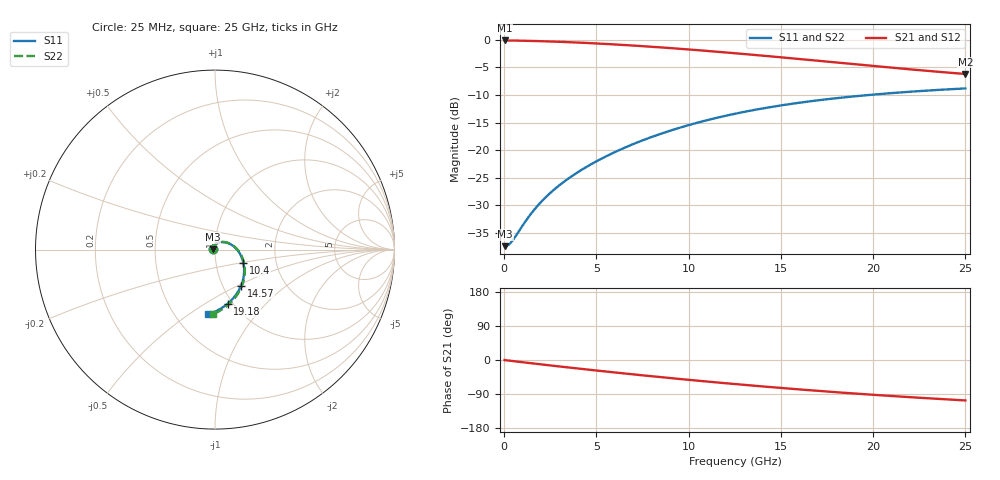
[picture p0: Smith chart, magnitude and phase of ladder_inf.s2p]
! R_s4_rect_n1: kisi's ladder, infinite plates (Finite board 24 × 16 mm, via L1 → L4 through the L2/L3 cavity, one GND via 2 mm away)
# Hz S RI R 50
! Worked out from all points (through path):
!   1000 points, 25 MHz to 25 GHz, reference 50 ohm
!   highest |S21| = -0.12 dB at 25 MHz (marker M1); lowest = -6.2 dB at 25 GHz (marker M2)
!   group delay of S21, straight-line fit = 11.8 ps
!   lowest |S11| = -37.4 dB at 50 MHz (marker M3), VSWR 1.03, Z = 48.7 + j0.122 ohm
!   |S11| at or under -10 dB: start of sweep to 19.77 GHz
!   |S22| runs from -37.4 to -8.9 dB; largest |S21 - S12| = 0
!   S11 on the Smith chart (normalised r, x): 25 MHz: 0.97, +0.00; 10.4 GHz: 1.36, -0.21; 14.57 GHz: 1.22, -0.52; 19.18 GHz: 0.95, -0.63; 25 GHz: 0.72, -0.59
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2.5e7  -0.0135 0.000644  0.9864 -0.00268  0.9864 -0.00268  -0.0135 0.000643
5e7  -0.0134 0.00126  0.9864 -0.00532  0.9864 -0.00532  -0.0134 0.00126
2.25e8  -0.0128 0.00528  0.9856 -0.0236  0.9856 -0.0236  -0.0128 0.00527
4e8  -0.0117 0.00898  0.9842 -0.0415  0.9842 -0.0415  -0.0118 0.00897
1.425e9  -0.000813 0.0261  0.967 -0.1417  0.967 -0.1417  -0.001 0.0261
1.8e9  0.00471 0.0308  0.9575 -0.1766  0.9575 -0.1766  0.00442 0.0308
2.2e9  0.0113 0.0349  0.9456 -0.2127  0.9456 -0.2127  0.0109 0.035
3.1e9  0.0283 0.0408  0.9127 -0.29  0.9127 -0.29  0.0276 0.0412
4.2e9  0.0519 0.0413  0.8626 -0.3757  0.8626 -0.3757  0.0509 0.0423
5.125e9  0.0728 0.0361  0.8133 -0.4398  0.8133 -0.4398  0.0715 0.0378
6.125e9  0.095 0.0247  0.7544 -0.5003  0.7544 -0.5003  0.0937 0.0273
7.225e9  0.1175 0.00582  0.6848 -0.556  0.6848 -0.556  0.1164 0.00956
8.35e9  0.1368 -0.0194  0.6104 -0.6012  0.6104 -0.6012  0.1362 -0.0144
9.375e9  0.1501 -0.0465  0.5416 -0.6326  0.5416 -0.6326  0.1503 -0.0403
1.04e10  0.1587 -0.0762  0.473 -0.655  0.473 -0.655  0.1601 -0.0689
1.2525e10  0.161 -0.141  0.3364 -0.6763  0.3364 -0.6763  0.1656 -0.1319
1.4575e10  0.1453 -0.2007  0.217 -0.6703  0.217 -0.6703  0.1538 -0.191
1.6675e10  0.1157 -0.2533  0.1114 -0.6442  0.1114 -0.6442  0.1285 -0.244
1.9175e10  0.0704 -0.3015  0.0096 -0.5968  0.0096 -0.5968  0.0883 -0.294
2.085e10  0.0377 -0.3253  -0.0446 -0.5602  -0.0446 -0.5602  0.0588 -0.3196
2.2875e10  -0.0017 -0.3461  -0.0974 -0.515  -0.0974 -0.515  0.0229 -0.343
2.5e10  -0.0409 -0.3603  -0.1411 -0.4694  -0.1411 -0.4694  -0.0129 -0.3604
